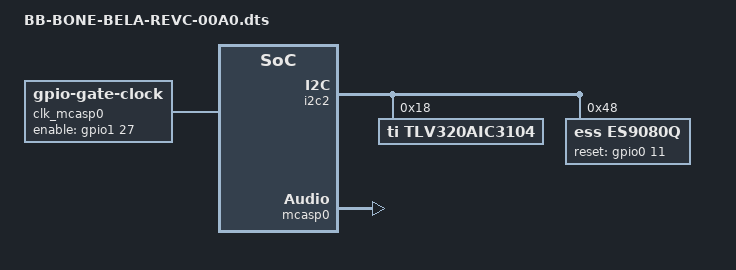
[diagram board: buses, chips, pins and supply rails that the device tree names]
// SPDX-License-Identifier: GPL-2.0-only
/*
* Copyright (C) 2012 Texas Instruments Incorporated - https://www.ti.com/
*/

/dts-v1/;
/plugin/;

#include <dt-bindings/gpio/gpio.h>
#include <dt-bindings/pinctrl/am33xx.h>

&{/chosen} {
    overlays {
        BB-BONE-AUDI-02-00A0.bb.org-overlays = __TIMESTAMP__;
    };
};

&{/} {
    clk_mcasp0_fixed: clk_mcasp0_fixed {
        #clock-cells = <0>;
        compatible = "fixed-clock";
        clock-frequency = <24576000>;
    };

    clk_mcasp0: clk_mcasp0 {
        #clock-cells = <0>;
        compatible = "gpio-gate-clock";
        clocks = <&clk_mcasp0_fixed>;
        enable-gpios = <&gpio1 27 0>; /* BeagleBone Black Clk enable on GPIO1_27 */
    };
};

&am33xx_pinmux {
    bone_audio_cape_audio_pins: pinmux_bone_audio_cape_audio_pins {
        pinctrl-single,pins = <
                AM33XX_IOPAD(0x990, PIN_INPUT_PULLDOWN | MUX_MODE0)	/* mcasp0_aclkx.mcasp0_aclkx */
                AM33XX_IOPAD(0x994, PIN_INPUT_PULLDOWN | MUX_MODE0)	/* mcasp0_fsx.mcasp0_fsx, INPUT */
                AM33XX_IOPAD(0x998, PIN_INPUT_PULLDOWN | MUX_MODE0)	/* mcasp0_axr0.mcasp0_axr0 */
                AM33XX_IOPAD(0x99c, PIN_INPUT_PULLDOWN | MUX_MODE2)	/* mcasp0_ahclkr.mcasp0_axr2 */
                AM33XX_IOPAD(0x9ac, PIN_INPUT_PULLDOWN | MUX_MODE0)	/* MCASP0_AHCLKX -> MCASP0_AHCLKX (I2S_MCLK_OUT)- in */
                AM33XX_IOPAD(0x86c, PIN_OUTPUT_PULLDOWN | MUX_MODE7)	/* gpmc_a11.GPIO1_27 */
                AM33XX_IOPAD(0x9a4, PIN_OUTPUT_PULLDOWN | MUX_MODE3)	/* mcasp0_fsr.mcasp0_axr3 - For ES9080Q */
        >;
    };
};

&ocp {
    P9_25_pinmux { status = "disabled"; };	/* mcasp0_ahclkx */
    P9_28_pinmux { status = "disabled"; };	/* mcasp0_axr2 */
    P9_29_pinmux { status = "disabled"; };	/* mcasp0_fsx */
    P9_30_pinmux { status = "disabled"; };	/* mcasp0_axr0 */
    P9_31_pinmux { status = "disabled"; };	/* mcasp0_aclkx */
    P8_33_pinmux { status = "disabled"; };	/* mcasp0_axr3 - For ES9080Q */
};

&i2c2 {
    #address-cells = <1>;
    #size-cells = <0>;
    status = "okay";

    tlv320aic3104: tlv320aic3104@18 {
        #sound-dai-cells = <0>;
        compatible = "ti,tlv320aic3104";
        reg = <0x18>;
        status = "okay";
    };

    es9080q: codec@48 {
        #sound-dai-cells = <0>;
        compatible = "ess,es9080q";
        reg = <0x48>;
        write-only-addr = <0x4C>;
        reset-gpios = <&gpio0 11 GPIO_ACTIVE_HIGH>;
        status = "okay";
    };
};

&mcasp0 {
    #sound-dai-cells = <0>;
    pinctrl-names = "default";
    pinctrl-0 = <&bone_audio_cape_audio_pins>;
    status = "okay";
    op-mode = <0>;          /* MCASP_IIS_MODE */
    tdm-slots = <16>;
    num-serializer = <16>;
    serial-dir = <	/* 0: INACTIVE, 1: TX, 2: RX */
        2 0 1 0
        0 0 0 0
        0 0 0 0
        0 0 0 0
    >;
    tx-num-evt = <32>;
    rx-num-evt = <32>;
};

&{/} {
    sound {
        compatible = "bela,audio-cape";
        model = "Bela Audio Cape";

        /* CPU DAI */
        cpu-dai = <&mcasp0>;

        /* Codec DAIs */
        aic3104-codec = <&tlv320aic3104>;
        es9080q-codec = <&es9080q>;

        /* Clock */
        clocks = <&clk_mcasp0>;
        clock-names = "mclk";

        status = "okay";
    };
};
